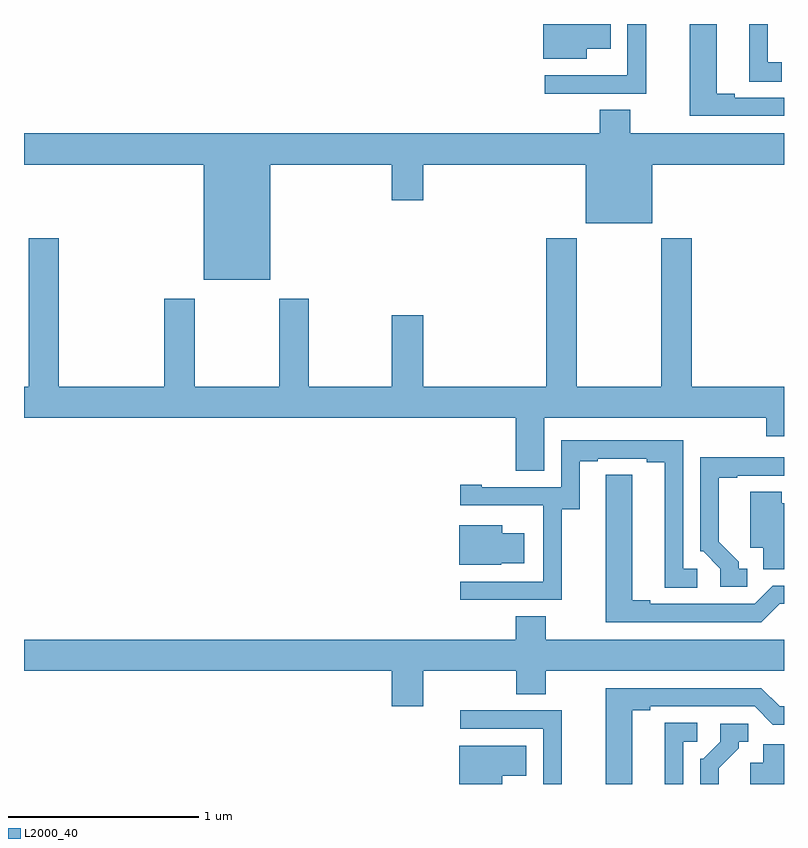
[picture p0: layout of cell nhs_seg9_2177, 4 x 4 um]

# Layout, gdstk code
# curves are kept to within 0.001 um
import gdstk
lib = gdstk.Library(unit=1e-6, precision=1e-09)
def P(c, l, *ps):  # polygons
    for p in ps: c.add(gdstk.Polygon(p, *l))
L2000_40 = (2000, 40)

nhs_seg9_2177 = lib.new_cell('nhs_seg9_2177')
P(nhs_seg9_2177, L2000_40, [(239,1190.112),(238.741,1190.112),(238.741,1190.132),(238.645,1190.132),(238.645,1190.5),(238.505,1190.5),(238.505,1190.016),(239,1190.016)],
  [(238.275,1190.5),(238.176,1190.5),(238.176,1190.23),(238.175,1190.23),(238.175,1190.229),(237.741,1190.229),(237.741,1190.133),(238.275,1190.133)],
  [(238.987,1190.298),(238.914,1190.298),(238.914,1190.5),(238.817,1190.5),(238.817,1190.197),(238.987,1190.197)],
  [(237.961,1190.369),(238.087,1190.369),(238.087,1190.5),(237.734,1190.5),(237.734,1190.318),(237.961,1190.318)],
  [(236.296,1189.76),(236.936,1189.76),(236.936,1189.572),(237.1,1189.572),(237.1,1189.76),(237.956,1189.76),(237.956,1189.451),(238.306,1189.451),(238.306,1189.76),(239,1189.76),(239,1189.924),(238.191,1189.924),(238.191,1190.048),(238.031,1190.048),(238.031,1189.924),(235,1189.924),(235,1189.76),(235.946,1189.76),(235.946,1189.154),(236.296,1189.154)],
  [(237.739,1188.428),(238.907,1188.428),(238.907,1188.33),(239,1188.33),(239,1188.592),(238.514,1188.592),(238.514,1189.372),(238.354,1189.372),(238.354,1188.592),(237.909,1188.592),(237.909,1189.372),(237.749,1189.372),(237.749,1188.592),(237.1,1188.592),(237.1,1188.967),(236.936,1188.967),(236.936,1188.592),(236.499,1188.592),(236.499,1189.054),(236.344,1189.054),(236.344,1188.592),(235.899,1188.592),(235.899,1189.054),(235.739,1189.054),(235.739,1188.592),(235.184,1188.592),(235.184,1189.372),(235.024,1189.372),(235.024,1188.592),(235,1188.592),(235,1188.428),(237.587,1188.428),(237.587,1188.148),(237.739,1188.148)],
  [(237.831,1187.947),(237.925,1187.947),(237.925,1188.198),(238.021,1188.198),(238.021,1188.213),(238.277,1188.213),(238.277,1188.193),(238.373,1188.193),(238.373,1187.533),(238.543,1187.533),(238.543,1187.634),(238.47,1187.634),(238.47,1188.309),(237.828,1188.309),(237.828,1188.063),(237.409,1188.063),(237.409,1188.076),(237.297,1188.076),(237.297,1187.967),(237.731,1187.967),(237.731,1187.966),(237.732,1187.966),(237.732,1187.565),(237.297,1187.565),(237.297,1187.469),(237.831,1187.469)],
  [(238.807,1187.634),(238.762,1187.634),(238.762,1187.669),(238.657,1187.774),(238.657,1188.111),(238.753,1188.111),(238.753,1188.123),(239,1188.123),(239,1188.219),(238.823,1188.219),(238.823,1188.221),(238.56,1188.221),(238.56,1187.724),(238.575,1187.724),(238.665,1187.634),(238.665,1187.538),(238.807,1187.538)],
  [(238.977,1187.448),(239,1187.448),(239,1187.544),(238.941,1187.544),(238.845,1187.448),(238.297,1187.448),(238.297,1187.468),(238.201,1187.468),(238.201,1188.128),(238.062,1188.128),(238.061,1187.352),(238.881,1187.352)],
  [(239,1187.977),(238.987,1187.977),(238.987,1188.038),(238.823,1188.038),(238.823,1187.744),(238.892,1187.744),(238.892,1187.629),(239,1187.629)],
  [(237.513,1187.663),(237.634,1187.663),(237.634,1187.821),(237.517,1187.821),(237.517,1187.863),(237.29,1187.863),(237.29,1187.654),(237.513,1187.654)],
  [(237.1,1187.096),(237.592,1187.096),(237.592,1186.972),(237.747,1186.972),(237.747,1187.096),(239,1187.096),(239,1187.26),(237.747,1187.26),(237.747,1187.384),(237.587,1187.384),(237.587,1187.26),(235,1187.26),(235,1187.096),(236.936,1187.096),(236.936,1186.908),(237.1,1186.908)],
  [(238.201,1186.888),(238.297,1186.888),(238.297,1186.908),(238.845,1186.908),(238.941,1186.812),(239,1186.812),(239,1186.908),(238.977,1186.908),(238.881,1187.004),(238.061,1187.004),(238.061,1186.5),(238.201,1186.5)],
  [(237.831,1186.887),(237.297,1186.887),(237.297,1186.791),(237.732,1186.791),(237.732,1186.5),(237.831,1186.5)],
  [(238.47,1186.722),(238.543,1186.722),(238.543,1186.823),(238.373,1186.823),(238.373,1186.5),(238.47,1186.5)],
  [(238.657,1186.582),(238.762,1186.687),(238.762,1186.722),(238.812,1186.722),(238.812,1186.818),(238.665,1186.818),(238.665,1186.722),(238.575,1186.632),(238.56,1186.632),(238.56,1186.5),(238.657,1186.5)],
  [(239,1186.71),(238.892,1186.71),(238.892,1186.612),(238.823,1186.612),(238.823,1186.5),(239,1186.5)],
  [(237.517,1186.544),(237.643,1186.544),(237.643,1186.702),(237.29,1186.702),(237.29,1186.5),(237.517,1186.5)])

lib.write_gds('nhs_seg9_2177.gds')
